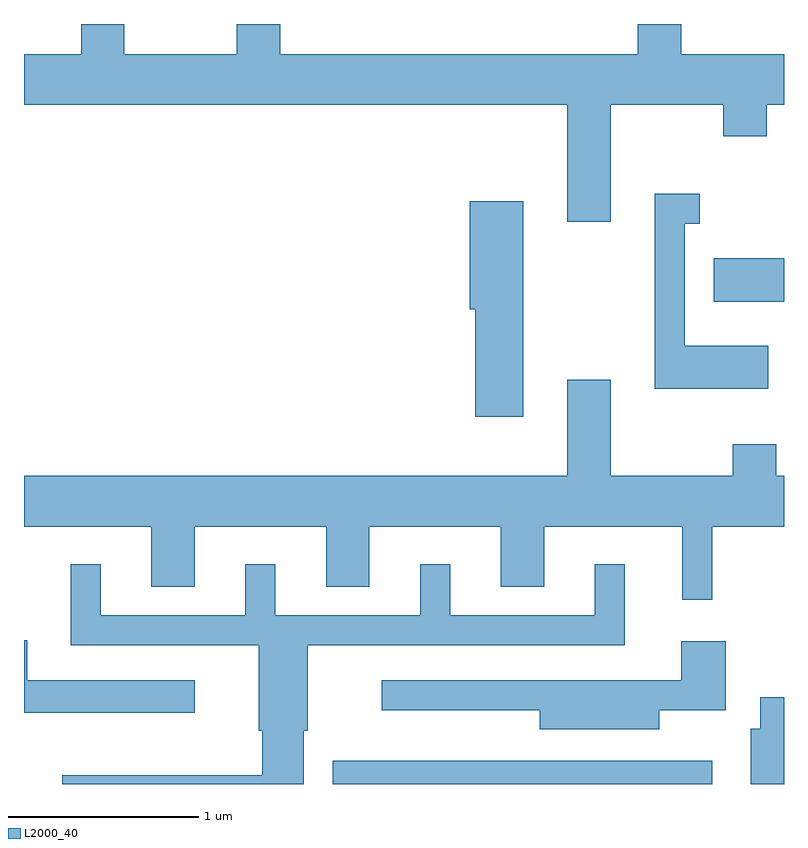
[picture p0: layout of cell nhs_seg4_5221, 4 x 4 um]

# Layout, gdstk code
import gdstk
lib = gdstk.Library(unit=1e-6, precision=1e-09)
def R(c, l, rs):  # rectangles x0, y0, x1, y1
    for r in rs: c.add(gdstk.rectangle(r[:2], r[2:], *l))
def P(c, l, *ps):  # polygons
    for p in ps: c.add(gdstk.Polygon(p, *l))
L2000_40 = (2000, 40)

nhs_seg4_5221 = lib.new_cell('nhs_seg4_5221')
R(nhs_seg4_5221, L2000_40, [(339.236,1359.982,341.234,1360.104), (341.241,1362.521,341.611,1362.749)])
P(nhs_seg4_5221, L2000_40, [(340.699,1363.556),(341.291,1363.556),(341.291,1363.391),(341.519,1363.391),(341.519,1363.556),(341.611,1363.556),(341.611,1363.824),(341.069,1363.824),(341.069,1363.982),(340.841,1363.982),(340.841,1363.824),(338.959,1363.824),(338.959,1363.982),(338.731,1363.982),(338.731,1363.824),(338.139,1363.824),(338.139,1363.982),(337.911,1363.982),(337.911,1363.824),(337.611,1363.824),(337.611,1363.556),(340.471,1363.556),(340.471,1362.941),(340.699,1362.941)],
  [(341.529,1362.289),(341.089,1362.289),(341.089,1362.931),(341.168,1362.931),(341.168,1363.089),(340.931,1363.089),(340.931,1362.061),(341.529,1362.061)],
  [(340.239,1363.049),(339.956,1363.049),(339.956,1362.481),(339.986,1362.481),(339.986,1361.916),(340.239,1361.916)],
  [(337.611,1361.336),(338.281,1361.336),(338.281,1361.021),(338.509,1361.021),(338.509,1361.336),(339.201,1361.336),(339.201,1361.021),(339.429,1361.021),(339.429,1361.336),(340.121,1361.336),(340.121,1361.021),(340.349,1361.021),(340.349,1361.336),(341.076,1361.336),(341.076,1360.953),(341.234,1360.953),(341.234,1361.336),(341.611,1361.336),(341.611,1361.604),(341.569,1361.604),(341.569,1361.769),(341.341,1361.769),(341.341,1361.604),(340.699,1361.604),(340.699,1362.109),(340.471,1362.109),(340.471,1361.604),(337.611,1361.604)],
  [(339.084,1360.261),(339.104,1360.261),(339.104,1360.711),(340.774,1360.711),(340.774,1361.138),(340.616,1361.138),(340.616,1360.869),(339.854,1360.869),(339.854,1361.138),(339.696,1361.138),(339.696,1360.869),(338.934,1360.869),(338.934,1361.138),(338.776,1361.138),(338.776,1360.869),(338.014,1360.869),(338.014,1361.138),(337.856,1361.138),(337.856,1360.711),(338.846,1360.711),(338.846,1360.261),(338.866,1360.261),(338.866,1360.029),(337.813,1360.029),(337.813,1359.982),(339.084,1359.982)],
  [(338.509,1360.529),(337.629,1360.529),(337.629,1360.739),(337.611,1360.739),(337.611,1360.356),(338.509,1360.356)],
  [(340.954,1360.371),(341.304,1360.371),(341.304,1360.734),(341.071,1360.734),(341.071,1360.529),(339.493,1360.529),(339.493,1360.371),(340.326,1360.371),(340.326,1360.271),(340.954,1360.271)],
  [(341.611,1360.439),(341.486,1360.439),(341.486,1360.274),(341.436,1360.274),(341.436,1359.982),(341.611,1359.982)])

lib.write_gds('nhs_seg4_5221.gds')
